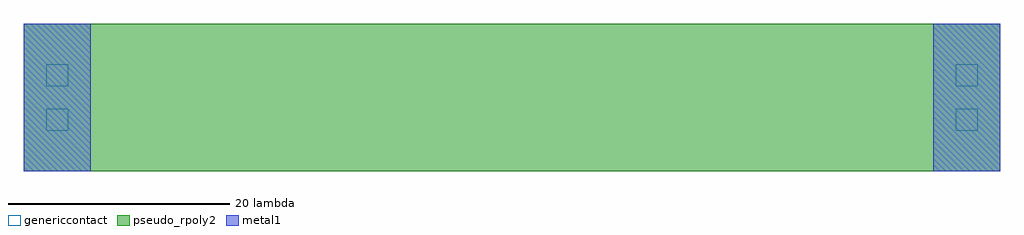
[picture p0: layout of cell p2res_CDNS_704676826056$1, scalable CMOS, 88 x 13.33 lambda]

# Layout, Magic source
magic
tech scmos
magscale 1 3
<< pseudo_rpoly2 >>
rect 8 8 272 48
use poly2cont_CDNS_704676826057$1  poly2cont_CDNS_704676826057$1_0
transform 1 0 254 0 1 8
box 0 0 18 40
use poly2cont_CDNS_704676826057$1  poly2cont_CDNS_704676826057$1_1
transform 1 0 8 0 1 8
box 0 0 18 40
<< end >>

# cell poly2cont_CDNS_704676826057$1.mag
magic
tech scmos
magscale 1 3
<< genericcontact >>
rect 6 23 12 29
rect 6 11 12 17
<< metal1 >>
rect 0 0 18 40
<< pseudo_rpoly2 >>
rect 1 1 17 39
<< end >>
